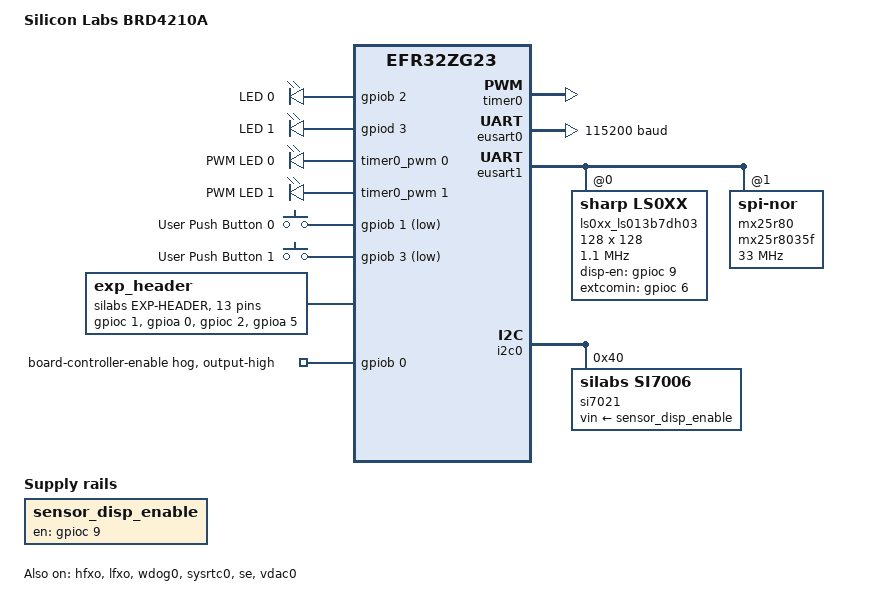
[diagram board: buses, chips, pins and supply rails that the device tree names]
/*
 * Copyright (c) 2024 Yishai Jaffe
 *
 * SPDX-License-Identifier: Apache-2.0
 */

/dts-v1/;
#include <silabs/xg23/efr32zg23b020f512im48.dtsi>
#include <zephyr/dt-bindings/input/input-event-codes.h>
#include <zephyr/dt-bindings/pwm/pwm.h>
#include <zephyr/dt-bindings/regulator/silabs_dcdc.h>
#include "xg23_rb4210a-pinctrl.dtsi"

/ {
	model = "Silicon Labs BRD4210A";
	compatible = "silabs,xg23_rb4210a", "silabs,efr32zg23";

	chosen {
		zephyr,code-partition = &slot0_partition;
		zephyr,console = &eusart0;
		zephyr,display = &ls0xx_ls013b7dh03;
		zephyr,flash = &flash0;
		zephyr,shell-uart = &eusart0;
		zephyr,sram = &sram0;
		zephyr,uart-pipe = &eusart0;
	};

	aliases {
		dht0 = &si7021;
		led0 = &led0;
		led1 = &led1;
		pwm-led0 = &pwm_led0;
		pwm-led1 = &pwm_led1;
		sw0 = &button0;
		sw1 = &button1;
		watchdog0 = &wdog0;
	};

	leds {
		compatible = "gpio-leds";

		led0: led_0 {
			gpios = <&gpiob 2 GPIO_ACTIVE_HIGH>;
			label = "LED 0";
		};

		led1: led_1 {
			gpios = <&gpiod 3 GPIO_ACTIVE_HIGH>;
			label = "LED 1";
		};
	};

	pwmleds {
		compatible = "pwm-leds";

		pwm_led0: pwm_led_0 {
			pwms = <&timer0_pwm 0 PWM_MSEC(20) PWM_POLARITY_NORMAL>;
			label = "PWM LED 0";
		};

		pwm_led1: pwm_led_1 {
			pwms = <&timer0_pwm 1 PWM_MSEC(20) PWM_POLARITY_NORMAL>;
			label = "PWM LED 1";
		};
	};

	buttons {
		compatible = "gpio-keys";

		button0: button_0 {
			gpios = <&gpiob 1 GPIO_ACTIVE_LOW>;
			label = "User Push Button 0";
			zephyr,code = <INPUT_KEY_0>;
		};

		button1: button_1 {
			gpios = <&gpiob 3 GPIO_ACTIVE_LOW>;
			label = "User Push Button 1";
			zephyr,code = <INPUT_KEY_1>;
		};
	};

	sensor_disp_enable: sensor_disp_enable {
		compatible = "regulator-fixed";
		enable-gpios = <&gpioc 9 GPIO_ACTIVE_HIGH>;
		regulator-name = "sensor_disp_enable";
		status = "okay";
	};

	exp_header: exp-header {
		compatible = "silabs,exp-header";
		#gpio-cells = <2>;
		gpio-map = <4 0 &gpioc 1 0>,
			   <5 0 &gpioa 0 0>,
			   <6 0 &gpioc 2 0>,
			   <7 0 &gpioa 5 0>,
			   <8 0 &gpioc 3 0>,
			   <9 0 &gpiod 2 0>,
			   <10 0 &gpioc 0 0>,
			   <11 0 &gpioa 6 0>,
			   <12 0 &gpioa 8 0>,
			   <13 0 &gpioa 7 0>,
			   <14 0 &gpioa 9 0>,
			   <15 0 &gpioc 5 0>,
			   <16 0 &gpioc 7 0>;
		gpio-map-mask = <0xffffffff 0x0>;
		gpio-map-pass-thru = <0x0 GPIO_DT_FLAGS_MASK>;
	};
};

&timer0 {
	status = "okay";

	timer0_pwm: pwm {
		pinctrl-0 = <&timer0_default>;
		pinctrl-names = "default";
		status = "okay";
	};
};

&cpu0 {
	clock-frequency = <78000000>;
};

&itm {
	pinctrl-0 = <&itm_default>;
	pinctrl-names = "default";
	swo-ref-frequency = <DT_FREQ_M(78)>;
};

&hfxo {
	ctune = <106>;
	precision = <50>;
	status = "okay";
};

&lfxo {
	ctune = <38>;
	precision = <50>;
	status = "okay";
};

&hfrcodpll {
	clock-frequency = <DT_FREQ_M(78)>;
	clocks = <&hfxo>;
	dpll-autorecover;
	dpll-edge = "fall";
	dpll-lock = "phase";
	dpll-m = <1919>;
	dpll-n = <3839>;
};

&em23grpaclk {
	clocks = <&lfxo>;
};

&em4grpaclk {
	clocks = <&lfxo>;
};

&sysrtcclk {
	clocks = <&lfxo>;
};

&wdog0clk {
	clocks = <&lfxo>;
};

&wdog1clk {
	clocks = <&lfxo>;
};

&eusart0 {
	compatible = "silabs,eusart-uart";
	current-speed = <115200>;
	pinctrl-0 = <&eusart0_default>;
	pinctrl-names = "default";
	status = "okay";
};

&eusart1 {
	#address-cells = <1>;
	#size-cells = <0>;
	pinctrl-0 = <&eusart1_default>;
	pinctrl-names = "default";
	status = "okay";

	cs-gpios = <&gpioc 8 GPIO_ACTIVE_HIGH>, <&gpioc 4 GPIO_ACTIVE_LOW>;

	ls0xx_ls013b7dh03: ls0xx@0 {
		compatible = "sharp,ls0xx";
		reg = <0>;
		height = <128>;
		spi-max-frequency = <DT_FREQ_K(1100)>;
		width = <128>;
		disp-en-gpios = <&gpioc 9 GPIO_ACTIVE_HIGH>;
		extcomin-gpios = <&gpioc 6 GPIO_ACTIVE_HIGH>;
		extcomin-frequency = <60>;
	};

	mx25r80: mx25r8035f@1 {
		compatible = "jedec,spi-nor";
		reg = <1>;
		dpd-wakeup-sequence = <30000 20 35000>;
		has-dpd;
		jedec-id = [c2 28 14];
		mxicy,mx25r-power-mode = "low-power";
		size = <DT_SIZE_M(8)>;
		spi-max-frequency = <DT_FREQ_M(33)>;
		t-enter-dpd = <0>;
	};
};

&i2c0 {
	pinctrl-0 = <&i2c0_default>;
	pinctrl-names = "default";
	status = "okay";

	si7021: si7021@40 {
		compatible = "silabs,si7006";
		reg = <0x40>;
		vin-supply = <&sensor_disp_enable>;
	};
};

&gpio {
	status = "okay";
};

&gpioa {
	status = "okay";
};

&gpiob {
	status = "okay";

	board-controller-enable {
		gpio-hog;
		gpios = <0 GPIO_ACTIVE_HIGH>;
		output-high;
	};
};

&gpioc {
	status = "okay";
};

&gpiod {
	status = "okay";
};

&wdog0 {
	status = "okay";
};

&sysrtc0 {
	status = "okay";
};

&se {
	status = "okay";
};

&dcdc {
	regulator-boot-on;
	regulator-initial-mode = <SILABS_DCDC_MODE_BUCK>;
	silabs,pfmx-peak-current-milliamp = <80>;
	status = "okay";
};

&flash0 {
	partitions {
		compatible = "fixed-partitions";
		#address-cells = <1>;
		#size-cells = <1>;

		/* Reserve 48 kB for the bootloader */
		boot_partition: partition@0 {
			reg = <0x0 DT_SIZE_K(48)>;
			label = "mcuboot";
			read-only;
		};

		/* Reserve 216 kB for the application in slot 0 */
		slot0_partition: partition@c000 {
			reg = <0x0000c000 DT_SIZE_K(216)>;
			label = "image-0";
		};

		/* Reserve 216 kB for the application in slot 1 */
		slot1_partition: partition@42000 {
			reg = <0x00042000 DT_SIZE_K(216)>;
			label = "image-1";
		};

		/* Set 32 kB of storage at the end of the 512 kB of flash */
		storage_partition: partition@78000 {
			reg = <0x00078000 DT_SIZE_K(32)>;
			label = "storage";
		};
	};
};

&vdac0 {
	status = "okay";
};
